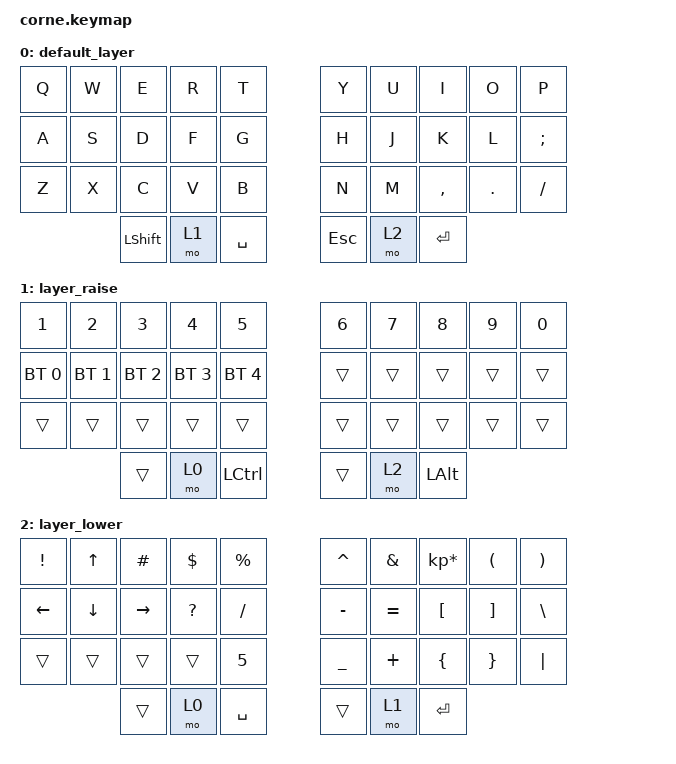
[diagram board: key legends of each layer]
/*
 * Copyright (c) 2020 The ZMK Contributors
 *
 * SPDX-License-Identifier: MIT
 */
/* THIS FILE WAS GENERATED!
 *
 * This file was generated automatically. You may or may not want to
 * edit it directly.
 */

#include <behaviors.dtsi>
#include <dt-bindings/zmk/keys.h>
#include <dt-bindings/zmk/bt.h>

/ {
    keymap {
        compatible = "zmk,keymap";

        default_layer {
            bindings = <
  &kp Q  &kp W       &kp E  &kp R      &kp T    &kp Y  &kp U      &kp I    &kp O     &kp P
  &kp A  &kp S       &kp D  &kp F      &kp G    &kp H  &kp J      &kp K    &kp L  &kp SEMI
  &kp Z  &kp X       &kp C  &kp V      &kp B    &kp N  &kp M  &kp COMMA  &kp DOT  &kp FSLH
                &kp LSHIFT  &mo 1  &kp SPACE  &kp ESC  &mo 2  &kp ENTER
            >;
        };

        layer_raise {
            bindings = <
        &kp N1        &kp N2        &kp N3        &kp N4        &kp N5  &kp N6  &kp N7    &kp N8  &kp N9  &kp N0
  &bt BT_SEL 0  &bt BT_SEL 1  &bt BT_SEL 2  &bt BT_SEL 3  &bt BT_SEL 4  &trans  &trans    &trans  &trans  &trans
        &trans        &trans        &trans        &trans        &trans  &trans  &trans    &trans  &trans  &trans
                                    &trans         &mo 0     &kp LCTRL  &trans   &mo 2  &kp LALT
            >;
        };

        layer_lower {
            bindings = <
        &kp EXCL  &kp UP_ARROW         &kp HASH      &kp DLLR     &kp PRCNT  &kp CARET   &kp AMPS  &kp KP_MULTIPLY  &kp LPAR  &kp RPAR
  &kp LEFT_ARROW      &kp DOWN  &kp RIGHT_ARROW  &kp QUESTION     &kp SLASH  &kp MINUS  &kp EQUAL         &kp LBKT  &kp RBKT  &kp BSLH
          &trans        &trans           &trans        &trans  &kp NUMBER_5  &kp UNDER   &kp PLUS         &kp LBRC  &kp RBRC  &kp PIPE
                                         &trans         &mo 0     &kp SPACE     &trans      &mo 1        &kp ENTER
            >;
        };
    };
};
